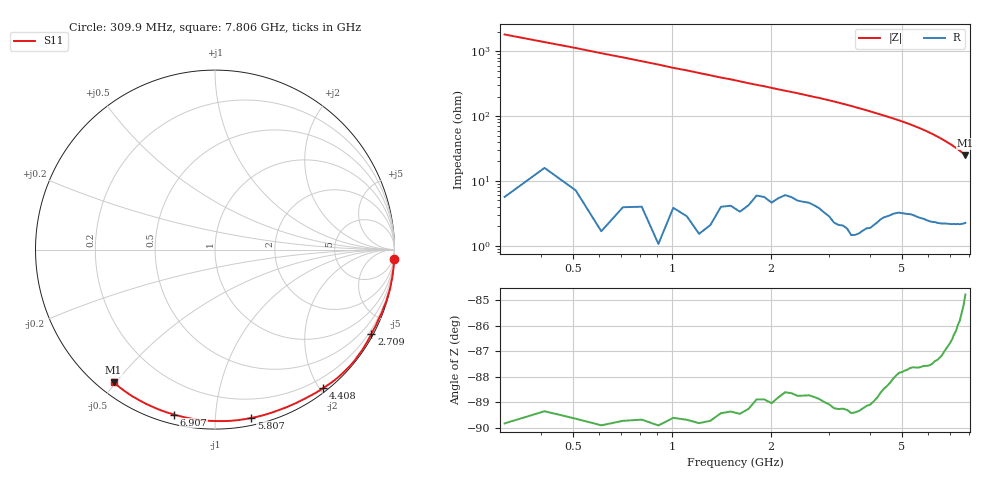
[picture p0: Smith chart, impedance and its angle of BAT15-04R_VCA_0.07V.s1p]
! Infineon Technologies  Discrete & RF Semiconductors
! BAT15-04R
! VCA = 0.07 V
! One-Port S-Parameters
# Hz  S  MA  R  50
!f  S11
!Hz  Mag  Ang
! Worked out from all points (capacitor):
!   76 points, 309.9 MHz to 7.806 GHz, reference 50 ohm
!   read as one part to ground: C = 279 fF near 309.9 MHz
!   lowest |Z| = 24.7 ohm at 7.806 GHz (marker M1)
!   S11 on the Smith chart (normalised r, x): 309.9 MHz: 0, -36; 2.709 GHz: 0.08, -3.96; 4.408 GHz: 0.05, -2.05; 5.807 GHz: 0.05, -1.24; 6.907 GHz: 0.04, -0.78; 7.806 GHz: 0.05, -0.49
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3.0985e8  0.9998 -3.1
9.0955e8  0.9997 -9.1
1.30935e9  0.9989 -13.4
1.6092e9  0.9972 -16.5
2.009e9  0.994 -20.7
2.2089e9  0.9906 -22.9
2.4088e9  0.9908 -25.0
2.70865e9  0.99 -28.3
2.90855e9  0.991 -30.6
3.2084e9  0.9927 -34.3
3.50825e9  0.9937 -38.4
3.70815e9  0.9923 -41.3
4.10795e9  0.9867 -47.3
4.4078e9  0.9792 -52.1
4.70765e9  0.9721 -57.0
5.0075e9  0.9667 -62.1
5.30735e9  0.9627 -67.7
5.6072e9  0.9612 -73.7
5.8071e9  0.9595 -77.9
6.007e9  0.9587 -82.3
6.2069e9  0.9569 -86.9
6.50675e9  0.9534 -94.1
6.70665e9  0.9503 -99.1
6.90655e9  0.9472 -104.1
7.10645e9  0.9445 -109.1
7.30635e9  0.9413 -114.2
7.6062e9  0.9355 -122.1
7.8061e9  0.93 -127.4
